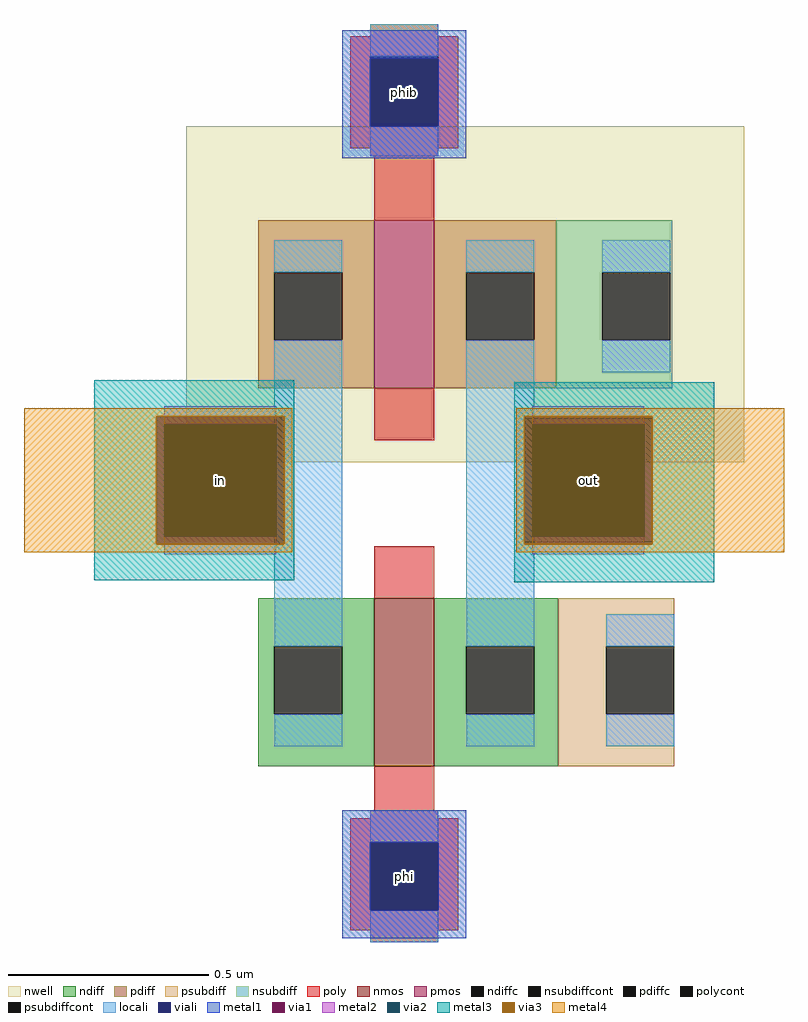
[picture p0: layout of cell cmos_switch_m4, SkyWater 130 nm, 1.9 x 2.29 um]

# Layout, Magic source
magic
tech sky130A
magscale 1 2
<< nwell >>
rect -94 162 185 330
<< nmos >>
rect 0 10 30 94
<< pmos >>
rect 0 199 30 283
<< ndiff >>
rect -58 70 0 94
rect -58 36 -50 70
rect -16 36 0 70
rect -58 10 0 36
rect 30 70 92 94
rect 30 36 46 70
rect 80 36 92 70
rect 30 10 92 36
<< pdiff >>
rect -58 257 0 283
rect -58 223 -50 257
rect -16 223 0 257
rect -58 199 0 223
rect 30 257 91 283
rect 30 223 46 257
rect 80 223 91 257
rect 30 199 91 223
<< ndiffc >>
rect -50 36 -16 70
rect 46 36 80 70
<< pdiffc >>
rect -50 223 -16 257
rect 46 223 80 257
<< psubdiff >>
rect 92 70 150 94
rect 92 36 116 70
rect 92 10 150 36
<< nsubdiff >>
rect 91 257 149 283
rect 91 223 114 257
rect 148 223 149 257
rect 91 199 149 223
<< psubdiffcont >>
rect 116 36 150 70
<< nsubdiffcont >>
rect 114 223 148 257
<< poly >>
rect -2 375 32 381
rect -12 365 42 375
rect -12 331 -2 365
rect 32 331 42 365
rect -12 319 42 331
rect -2 315 32 319
rect 0 283 30 315
rect 0 173 30 199
rect 0 94 30 120
rect 0 -12 30 10
rect -2 -16 32 -12
rect -12 -28 42 -16
rect -12 -62 -2 -28
rect 32 -62 42 -28
rect -12 -72 42 -62
rect -2 -78 32 -72
<< polycont >>
rect -2 331 32 365
rect -2 -62 32 -28
<< locali >>
rect -2 365 32 381
rect -2 315 32 330
rect -50 257 -16 273
rect -50 170 -16 223
rect -60 136 -16 170
rect -50 70 -16 136
rect -50 20 -16 36
rect 46 257 80 273
rect 46 170 80 223
rect 114 257 148 273
rect 114 207 148 223
rect 46 136 90 170
rect 46 70 80 136
rect 46 20 80 36
rect 116 70 150 86
rect 116 20 150 36
rect -2 -28 32 -12
rect -2 -78 32 -62
<< viali >>
rect -2 331 32 364
rect -2 330 32 331
rect -94 136 -60 170
rect 90 136 124 170
rect -2 -62 32 -28
<< metal1 >>
rect -16 364 46 378
rect -16 330 -2 364
rect 32 330 46 364
rect -16 314 46 330
rect -109 179 -45 185
rect -109 127 -103 179
rect -51 127 -45 179
rect -109 121 -45 127
rect 75 179 139 184
rect 75 127 81 179
rect 133 127 139 179
rect 75 122 139 127
rect -16 -28 46 -12
rect -16 -62 -2 -28
rect 32 -62 46 -28
rect -16 -76 46 -62
<< via1 >>
rect -103 170 -51 179
rect -103 136 -94 170
rect -94 136 -60 170
rect -60 136 -51 170
rect -103 127 -51 136
rect 81 170 133 179
rect 81 136 90 170
rect 90 136 124 170
rect 124 136 133 170
rect 81 127 133 136
<< metal2 >>
rect -105 181 -49 190
rect -105 116 -49 125
rect 79 181 135 190
rect 79 116 135 125
<< via2 >>
rect -105 179 -49 181
rect -105 127 -103 179
rect -103 127 -51 179
rect -51 127 -49 179
rect -105 125 -49 127
rect 79 179 135 181
rect 79 127 81 179
rect 81 127 133 179
rect 133 127 135 179
rect 79 125 135 127
<< metal3 >>
rect -140 185 -40 203
rect -140 121 -109 185
rect -45 121 -40 185
rect -140 103 -40 121
rect 70 185 170 202
rect 70 121 75 185
rect 139 121 170 185
rect 70 102 170 121
<< via3 >>
rect -109 181 -45 185
rect -109 125 -105 181
rect -105 125 -49 181
rect -49 125 -45 181
rect -109 121 -45 125
rect 75 121 139 185
<< metal4 >>
rect -175 185 -41 189
rect -175 121 -109 185
rect -45 121 -41 185
rect -175 117 -41 121
rect 71 185 205 189
rect 71 121 75 185
rect 139 121 205 185
rect 71 117 205 121
<< labels >>
flabel metal1 -2 330 32 364 0 FreeSans 80 0 0 0 phib
flabel viali -94 136 -60 170 0 FreeSans 80 0 0 0 in
flabel metal1 -2 -62 32 -28 0 FreeSans 80 0 0 0 phi
flabel viali 90 136 124 170 0 FreeSans 80 0 0 0 out
<< end >>
